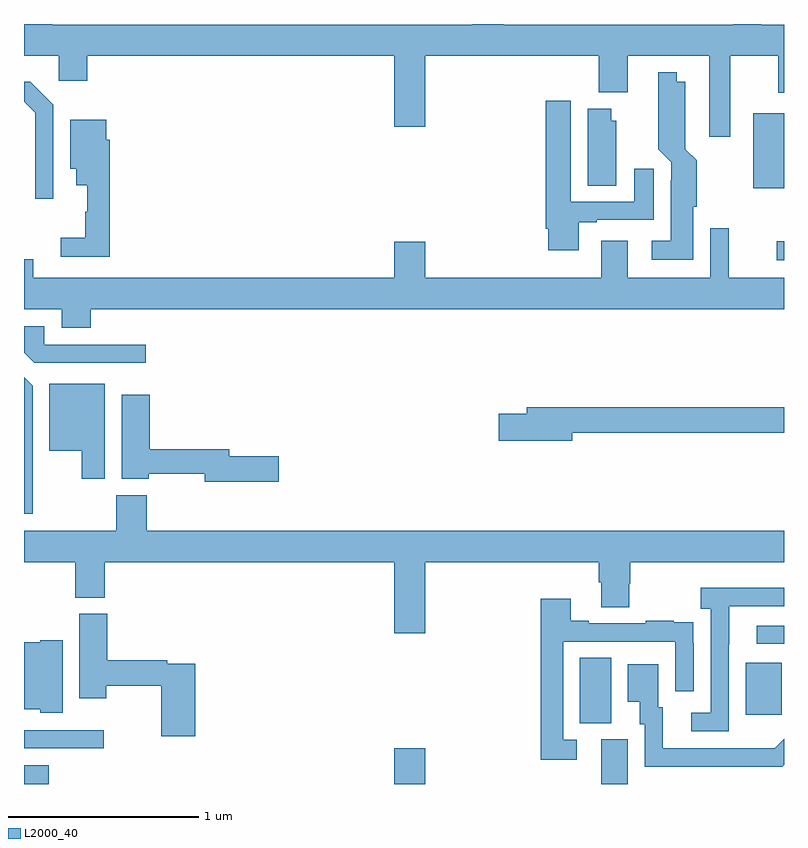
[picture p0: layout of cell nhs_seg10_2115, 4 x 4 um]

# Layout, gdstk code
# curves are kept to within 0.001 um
import gdstk
lib = gdstk.Library(unit=1e-6, precision=1e-09)
def R(c, l, rs):  # rectangles x0, y0, x1, y1
    for r in rs: c.add(gdstk.rectangle(r[:2], r[2:], *l))
def P(c, l, *ps):  # polygons
    for p in ps: c.add(gdstk.Polygon(p, *l))
L2000_40 = (2000, 40)

nhs_seg10_2115 = lib.new_cell('nhs_seg10_2115')
R(nhs_seg10_2115, L2000_40, [(223,1280.5,223.13,1280.599), (224.948,1280.5,225.112,1280.689), (226.037,1280.5,226.177,1280.736), (223,1280.688,223.42,1280.784), (225.926,1280.821,226.09,1281.164), (226.799,1280.865,226.987,1281.139), (226.857,1281.237,227,1281.333), (226.962,1283.256,227,1283.357), (226.838,1283.636,227,1284.031)])
P(nhs_seg10_2115, L2000_40, [(226.717,1284.332),(226.97,1284.332),(226.97,1284.138),(227,1284.138),(227,1284.496),(226.881,1284.496),(226.881,1284.5),(226.734,1284.5),(226.734,1284.496),(225.524,1284.496),(225.524,1284.5),(225.359,1284.5),(225.359,1284.496),(223.148,1284.496),(223.148,1284.5),(223,1284.5),(223,1284.332),(223.182,1284.332),(223.182,1284.201),(223.334,1284.201),(223.334,1284.332),(224.948,1284.332),(224.948,1283.958),(225.112,1283.958),(225.112,1284.332),(226.025,1284.332),(226.025,1284.14),(226.177,1284.14),(226.177,1284.332),(226.607,1284.332),(226.607,1283.907),(226.717,1283.907)],
  [(226.522,1283.538),(226.54,1283.538),(226.54,1283.783),(226.481,1283.842),(226.48,1284.196),(226.435,1284.196),(226.435,1284.247),(226.338,1284.247),(226.337,1283.842),(226.407,1283.772),(226.407,1283.678),(226.403,1283.678),(226.403,1283.359),(226.305,1283.359),(226.305,1283.258),(226.522,1283.258)],
  [(223.155,1284.075),(223.034,1284.196),(223,1284.196),(223,1284.092),(223.059,1284.033),(223.059,1283.58),(223.155,1283.58)],
  [(225.919,1283.457),(226.015,1283.457),(226.015,1283.469),(226.315,1283.469),(226.315,1283.737),(226.211,1283.737),(226.211,1283.565),(225.877,1283.565),(225.877,1284.097),(225.746,1284.097),(225.746,1283.422),(225.758,1283.422),(225.758,1283.31),(225.919,1283.31)],
  [(226.117,1283.991),(226.09,1283.991),(226.09,1284.055),(225.968,1284.055),(225.968,1283.65),(226.117,1283.65)],
  [(223.451,1283.891),(223.432,1283.891),(223.432,1283.995),(223.244,1283.995),(223.244,1283.738),(223.274,1283.738),(223.274,1283.651),(223.334,1283.651),(223.334,1283.511),(223.323,1283.511),(223.323,1283.375),(223.194,1283.375),(223.194,1283.274),(223.451,1283.274)],
  [(226.611,1283.425),(226.611,1283.164),(226.177,1283.164),(226.177,1283.359),(226.037,1283.359),(226.037,1283.164),(225.112,1283.164),(225.112,1283.353),(224.948,1283.353),(224.948,1283.164),(223.048,1283.164),(223.048,1283.262),(223,1283.262),(223,1283),(223.199,1283),(223.199,1282.901),(223.352,1282.901),(223.352,1283),(227,1283),(227,1283.164),(226.71,1283.164),(226.71,1283.425)],
  [(223.642,1282.812),(223.107,1282.812),(223.107,1282.908),(223,1282.908),(223,1282.77),(223.053,1282.716),(223.642,1282.716)],
  [(223.045,1282.595),(223,1282.64),(223,1281.923),(223.045,1281.923)],
  [(223.426,1282.606),(223.133,1282.606),(223.133,1282.253),(223.304,1282.253),(223.304,1282.107),(223.426,1282.107)],
  [(224.341,1282.226),(224.08,1282.226),(224.08,1282.262),(223.661,1282.262),(223.661,1282.549),(223.514,1282.549),(223.514,1282.106),(223.656,1282.106),(223.656,1282.134),(223.952,1282.134),(223.952,1282.091),(224.341,1282.091)],
  [(225.886,1282.348),(227,1282.348),(227,1282.484),(225.647,1282.484),(225.647,1282.448),(225.498,1282.448),(225.498,1282.306),(225.886,1282.306)],
  [(225.112,1281.668),(226.025,1281.668),(226.025,1281.562),(226.037,1281.562),(226.037,1281.43),(226.185,1281.43),(226.185,1281.555),(226.19,1281.555),(226.19,1281.668),(227,1281.668),(227,1281.832),(223.646,1281.832),(223.646,1282.021),(223.486,1282.021),(223.486,1281.832),(223,1281.832),(223,1281.668),(223.271,1281.668),(223.271,1281.481),(223.424,1281.481),(223.424,1281.668),(224.948,1281.668),(224.948,1281.294),(225.112,1281.294)],
  [(226.71,1281.235),(226.711,1281.235),(226.711,1281.435),(227,1281.435),(227,1281.532),(226.563,1281.532),(226.563,1281.422),(226.614,1281.422),(226.614,1280.874),(226.512,1280.874),(226.512,1280.778),(226.71,1280.778)],
  [(225.91,1280.733),(225.837,1280.733),(225.837,1281.249),(226.428,1281.249),(226.428,1280.988),(226.524,1280.988),(226.524,1281.242),(226.523,1281.242),(226.523,1281.351),(226.421,1281.351),(226.421,1281.358),(226.273,1281.358),(226.273,1281.345),(225.973,1281.345),(225.973,1281.358),(225.877,1281.358),(225.877,1281.475),(225.721,1281.475),(225.721,1280.628),(225.91,1280.628)],
  [(223.901,1281.132),(223.754,1281.132),(223.754,1281.152),(223.439,1281.152),(223.439,1281.396),(223.292,1281.396),(223.292,1280.952),(223.434,1280.952),(223.434,1281.016),(223.723,1281.016),(223.723,1280.751),(223.901,1280.751)],
  [(223.204,1281.256),(223.086,1281.256),(223.086,1281.247),(223,1281.247),(223,1280.894),(223.086,1280.894),(223.086,1280.876),(223.204,1280.876)],
  [(227,1280.602),(227,1280.738),(226.951,1280.689),(226.363,1280.688),(226.363,1280.904),(226.339,1280.904),(226.339,1281.13),(226.178,1281.13),(226.178,1280.933),(226.241,1280.933),(226.241,1280.814),(226.266,1280.814),(226.266,1280.592),(226.99,1280.592)])

lib.write_gds('nhs_seg10_2115.gds')
